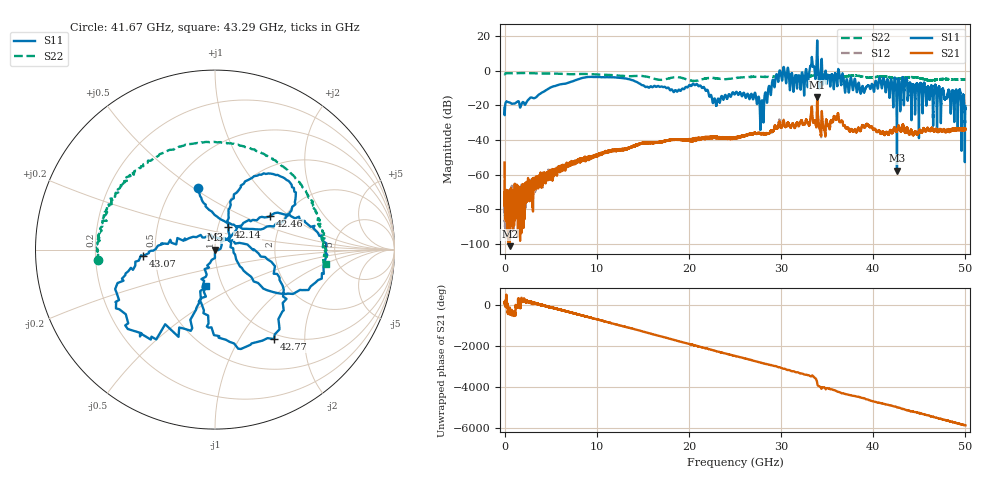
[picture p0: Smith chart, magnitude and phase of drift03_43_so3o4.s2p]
!Created with skrf (http://scikit-rf.org).
# Hz S RI R 50.0
!freq ReS11 ImS11 ReS21 ImS21 ReS12 ImS12 ReS22 ImS22
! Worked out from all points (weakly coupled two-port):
!   10001 points, 300 kHz to 50 GHz, reference 50 ohm
!   highest |S21| = -15.36 dB at 33.92 GHz (marker M1); lowest = -101.3 dB at 550.3 MHz (marker M2)
!   lowest |S11| = -57.7 dB at 42.58 GHz (marker M3), VSWR 1.00, Z = 50.1 + j0.0394 ohm
!   |S11| at or under -10 dB: start of sweep to 4.852 GHz; 21.69 GHz to 28.62 GHz (6.935 GHz wide, 27.6 % of centre); 47.2 GHz to end of sweep (the widest 3 of 44)
!   |S22| runs from -5.9 to -1.3 dB; largest |S21 - S12| = 0.018
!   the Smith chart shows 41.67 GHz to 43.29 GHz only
!   S11 on the Smith chart (normalised r, x): 41.67 GHz: 0.66, +0.52; 42.14 GHz: 1.12, +0.28; 42.46 GHz: 1.69, +0.73; 42.77 GHz: 0.92, -1.43; 43.07 GHz: 0.43, -0.04; 43.29 GHz: 0.83, -0.36
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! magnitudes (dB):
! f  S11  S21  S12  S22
! 300 kHz  -21.4  -53.0  -56.3  -2.0
! 255.3 MHz  -17.9  -75.4  -82.4  -1.4
! 550.3 MHz  -18.3  -101.3  -76.2  -1.5
! 8.335 GHz  -4.3  -51.5  -51.4  -1.9
! 16.67 GHz  -8.8  -41.4  -41.3  -5.2
! 21.01 GHz  -8.8  -39.2  -39.5  -5.5
! 22.81 GHz  -16.1  -38.3  -38.6  -4.2
! 25 GHz  -13.4  -39.2  -38.8  -4.3
! 27.92 GHz  -17.1  -36.2  -36.5  -3.5
! 29.69 GHz  -6.5  -31.9  -31.7  -3.1
! 32.32 GHz  -1.5  -30.6  -30.6  -3.3
! 33.34 GHz  8.0  -20.6  -20.8  -2.9
! 33.92 GHz  17.5  -15.4  -15.7  -2.5
! 38.82 GHz  -9.0  -31.4  -31.6  -3.4
! 41.67 GHz  -9.0  -36.6  -36.6  -3.6
! 42.14 GHz  -16.8  -35.2  -35.3  -4.1
! 42.46 GHz  -8.9  -34.8  -34.5  -4.4
! 42.58 GHz  -57.7  -35.0  -34.8  -4.5
! 42.77 GHz  -4.5  -32.1  -32.1  -4.5
! 43.07 GHz  -7.9  -34.6  -34.6  -4.5
! 43.29 GHz  -13.5  -32.9  -32.7  -4.1
! 50 GHz  -20.4  -33.5  -34.0  -5.0
